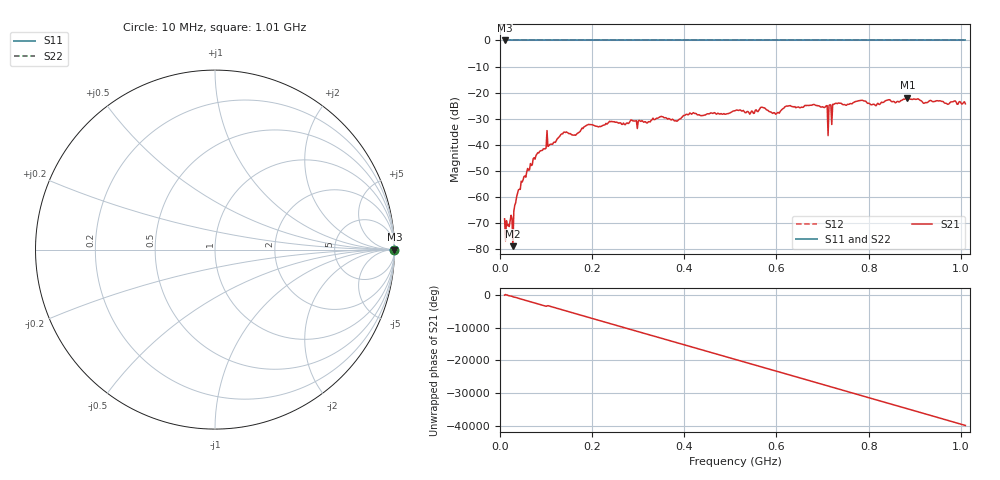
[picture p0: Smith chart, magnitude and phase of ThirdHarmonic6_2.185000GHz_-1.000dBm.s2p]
! 8/17/2025 2:03:36 AM
! C:\ANRITSUVNA\TEMP\TEMP.S2P
! CHANNEL.1
! TR.MEASUREMENT
! RAW.DATA
! RF.CORRECTION.OFF
! AVERAGING.OFF
! IF.BANDWIDTH: 5KHZ
! SWEEPTYPE:  FREQ.SWEEP(Linear)
! Reference Plane Port Info
! PORT:  PORT1  PORT2
! DISTANCE:  0  m  0  m
! TIME:  0  s  0  s
! PHASE.OFFSET:  0  deg.  0  deg.
! LOSS:  0  dB  0  dB
! REF.LOSS:  0  dB  0  dB
! REF.FREQ:  0  Hz  0  Hz
! Power Info
! POWER:  -20  dBm  -20  dBm
! EFF.POWER:  -20  dBm  -20  dBm
! SOURCE.ATTEN:  0  dB  0  dB
! TEST.ATTEN:  0  dB  0  dB
# GHZ S RI R 50.0
! FREQ.GHZ  S11RE  S11IM  S21RE  S21IM  S12RE  S12IM  S22RE  S22IM
!; PortSelection: Port_12
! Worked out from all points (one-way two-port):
!   501 points, 10 MHz to 1.01 GHz, reference 50 ohm
!   highest |S21| = -21.94 dB at 884 MHz (marker M1); lowest = -78.9 dB at 28 MHz (marker M2)
!   lowest |S11| = 0.0 dB at 10 MHz (marker M3)
!   |S11| at or under -10 dB: nowhere
!   |S22| runs from 0.0 to 0.0 dB; largest |S21 - S12| = 1.1
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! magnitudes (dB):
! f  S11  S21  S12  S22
! 10 MHz  0.0  -68.4  0.0  0.0
! 16 MHz  0.0  -71.1  0.0  0.0
! 28 MHz  0.0  -78.9  0.0  0.0
! 42 MHz  0.0  -57.1  0.0  0.0
! 82 MHz  0.0  -43.1  0.0  0.0
! 136 MHz  0.0  -35.8  0.0  0.0
! 162 MHz  0.0  -36.3  0.0  0.0
! 178 MHz  0.0  -33.6  0.0  0.0
! 344 MHz  0.0  -29.7  0.0  0.0
! 382 MHz  0.0  -30.8  0.0  0.0
! 416 MHz  0.0  -28.3  0.0  0.0
! 510 MHz  0.0  -27.0  0.0  0.0
! 570 MHz  0.0  -25.7  0.0  0.0
! 602 MHz  0.0  -27.7  0.0  0.0
! 624 MHz  0.0  -25.2  0.0  0.0
! 678 MHz  0.0  -24.7  0.0  0.0
! 706 MHz  0.0  -25.5  0.0  0.0
! 716 MHz  0.0  -24.7  0.0  0.0
! 726 MHz  0.0  -24.3  0.0  0.0
! 844 MHz  0.0  -22.7  0.0  0.0
! 884 MHz  0.0  -21.9  0.0  0.0
! 1.01 GHz  0.0  -24.3  0.0  0.0
